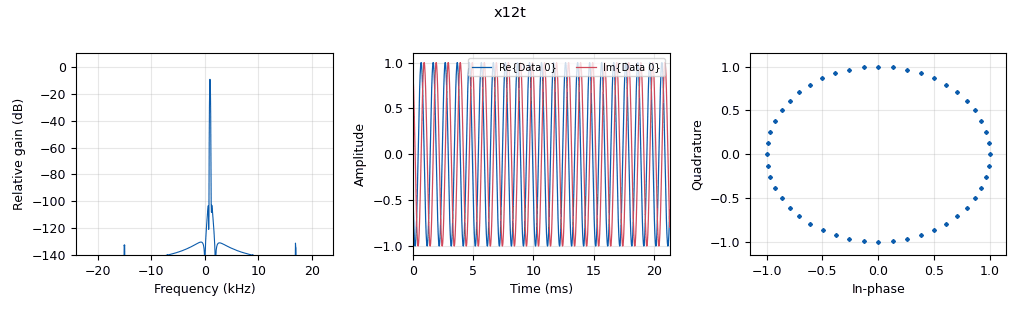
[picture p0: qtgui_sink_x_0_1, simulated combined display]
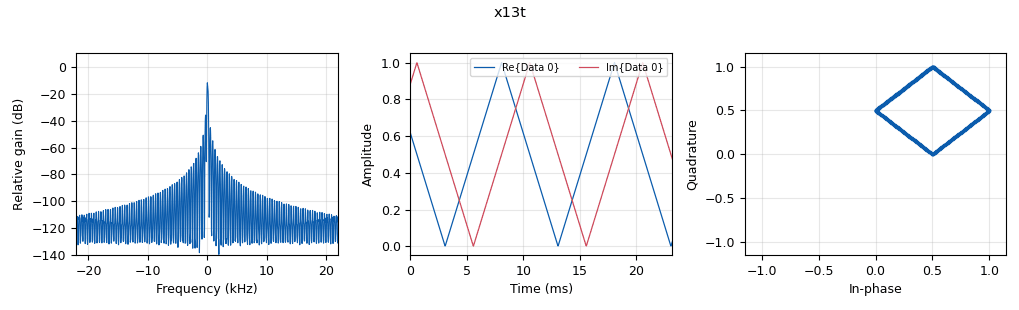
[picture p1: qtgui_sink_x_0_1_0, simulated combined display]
<?xml version='1.0' encoding='utf-8'?>
<?grc format='1' created='3.7.14'?>
<flow_graph>
<block>
<key>options</key>
<param><key>id</key><value>read_writeTests_complex_gr37_001</value></param>
<param><key>author</key><value>P. Mathys</value></param>
<param><key>generate_options</key><value>qt_gui</value></param>
<param><key>title</key><value>Read/Write Tests for complex-valued signals</value></param>
</block>
<block>
<key>variable</key>
<param><key>id</key><value>Fs12</value></param>
<param><key>value</key><value>48000</value></param>
</block>
<block>
<key>variable</key>
<param><key>id</key><value>Fs13</value></param>
<param><key>value</key><value>44100</value></param>
</block>
<block>
<key>variable</key>
<param><key>id</key><value>Fs2</value></param>
<param><key>value</key><value>32000</value></param>
</block>
<block>
<key>variable</key>
<param><key>id</key><value>Fs3</value></param>
<param><key>value</key><value>22050</value></param>
</block>
<block>
<key>analog_sig_source_x</key>
<param><key>id</key><value>analog_sig_source_x_0</value></param>
<param><key>amp</key><value>1</value></param>
<param><key>freq</key><value>1000</value></param>
<param><key>offset</key><value>0</value></param>
<param><key>type</key><value>complex</value></param>
<param><key>samp_rate</key><value>Fs12</value></param>
<param><key>waveform</key><value>analog.GR_COS_WAVE</value></param>
</block>
<block>
<key>analog_sig_source_x</key>
<param><key>id</key><value>analog_sig_source_x_0_0</value></param>
<param><key>amp</key><value>1</value></param>
<param><key>freq</key><value>100</value></param>
<param><key>offset</key><value>0</value></param>
<param><key>type</key><value>complex</value></param>
<param><key>samp_rate</key><value>Fs13</value></param>
<param><key>waveform</key><value>analog.GR_TRI_WAVE</value></param>
</block>
<block>
<key>blocks_complex_to_float</key>
<param><key>id</key><value>blocks_complex_to_float_0</value></param>
<param><key>_enabled</key><value>0</value></param>
</block>
<block>
<key>blocks_file_sink</key>
<param><key>id</key><value>blocks_file_sink_0</value></param>
<param><key>_enabled</key><value>0</value></param>
<param><key>file</key><value>sig_x12t_complex64_Fs48000.bin</value></param>
<param><key>type</key><value>complex</value></param>
</block>
<block>
<key>blocks_file_source</key>
<param><key>id</key><value>blocks_file_source_0</value></param>
<param><key>file</key><value>sig_x2t_complex64_Fs32000.bin</value></param>
<param><key>type</key><value>complex</value></param>
<param><key>repeat</key><value>True</value></param>
</block>
<block>
<key>blocks_float_to_complex</key>
<param><key>id</key><value>blocks_float_to_complex_0</value></param>
</block>
<block>
<key>blocks_throttle</key>
<param><key>id</key><value>blocks_throttle_0</value></param>
<param><key>samples_per_second</key><value>Fs2</value></param>
<param><key>type</key><value>complex</value></param>
</block>
<block>
<key>blocks_throttle</key>
<param><key>id</key><value>blocks_throttle_0_0</value></param>
<param><key>samples_per_second</key><value>Fs3</value></param>
<param><key>type</key><value>complex</value></param>
</block>
<block>
<key>blocks_throttle</key>
<param><key>id</key><value>blocks_throttle_0_1</value></param>
<param><key>samples_per_second</key><value>Fs12</value></param>
<param><key>type</key><value>complex</value></param>
</block>
<block>
<key>blocks_throttle</key>
<param><key>id</key><value>blocks_throttle_0_1_0</value></param>
<param><key>samples_per_second</key><value>Fs13</value></param>
<param><key>type</key><value>complex</value></param>
</block>
<block>
<key>blocks_wavfile_sink</key>
<param><key>id</key><value>blocks_wavfile_sink_0</value></param>
<param><key>bits_per_sample</key><value>16</value></param>
<param><key>_enabled</key><value>0</value></param>
<param><key>file</key><value>sig_x13t_PAMint16_2ch_Fs44100.wav</value></param>
<param><key>nchan</key><value>2</value></param>
<param><key>samp_rate</key><value>Fs13</value></param>
</block>
<block>
<key>blocks_wavfile_source</key>
<param><key>id</key><value>blocks_wavfile_source_0</value></param>
<param><key>file</key><value>sig_x3t_PAMint16_2ch_Fs22050.wav</value></param>
<param><key>nchan</key><value>2</value></param>
<param><key>repeat</key><value>True</value></param>
</block>
<block>
<key>qtgui_sink_x</key>
<param><key>id</key><value>qtgui_sink_x_0</value></param>
<param><key>bw</key><value>Fs2</value></param>
<param><key>fc</key><value>0</value></param>
<param><key>freqchangevar</key><value>None</value></param>
<param><key>fftsize</key><value>1024</value></param>
<param><key>gui_hint</key><value>0,0,1,1</value></param>
<param><key>name</key><value>"y2t"</value></param>
<param><key>showports</key><value>True</value></param>
<param><key>type</key><value>complex</value></param>
<param><key>wintype</key><value>firdes.WIN_BLACKMAN_hARRIS</value></param>
</block>
<block>
<key>qtgui_sink_x</key>
<param><key>id</key><value>qtgui_sink_x_0_0</value></param>
<param><key>bw</key><value>Fs3</value></param>
<param><key>fc</key><value>0</value></param>
<param><key>freqchangevar</key><value>None</value></param>
<param><key>fftsize</key><value>4096</value></param>
<param><key>gui_hint</key><value>0,1,1,1</value></param>
<param><key>name</key><value>"y3t"</value></param>
<param><key>showports</key><value>True</value></param>
<param><key>type</key><value>complex</value></param>
<param><key>wintype</key><value>firdes.WIN_BLACKMAN_hARRIS</value></param>
</block>
<block>
<key>qtgui_sink_x</key>
<param><key>id</key><value>qtgui_sink_x_0_1</value></param>
<param><key>bw</key><value>Fs12</value></param>
<param><key>fc</key><value>0</value></param>
<param><key>freqchangevar</key><value>None</value></param>
<param><key>fftsize</key><value>1024</value></param>
<param><key>gui_hint</key><value>1,0,1,1</value></param>
<param><key>name</key><value>"x12t"</value></param>
<param><key>showports</key><value>True</value></param>
<param><key>type</key><value>complex</value></param>
<param><key>wintype</key><value>firdes.WIN_BLACKMAN_hARRIS</value></param>
</block>
<block>
<key>qtgui_sink_x</key>
<param><key>id</key><value>qtgui_sink_x_0_1_0</value></param>
<param><key>bw</key><value>Fs13</value></param>
<param><key>fc</key><value>0</value></param>
<param><key>freqchangevar</key><value>None</value></param>
<param><key>fftsize</key><value>1024</value></param>
<param><key>gui_hint</key><value>1,1,1,1</value></param>
<param><key>name</key><value>"x13t"</value></param>
<param><key>showports</key><value>True</value></param>
<param><key>type</key><value>complex</value></param>
<param><key>wintype</key><value>firdes.WIN_BLACKMAN_hARRIS</value></param>
</block>
<connection><source_block_id>analog_sig_source_x_0</source_block_id><sink_block_id>blocks_throttle_0_1</sink_block_id><source_key>0</source_key><sink_key>0</sink_key></connection>
<connection><source_block_id>analog_sig_source_x_0_0</source_block_id><sink_block_id>blocks_throttle_0_1_0</sink_block_id><source_key>0</source_key><sink_key>0</sink_key></connection>
<connection><source_block_id>blocks_complex_to_float_0</source_block_id><sink_block_id>blocks_wavfile_sink_0</sink_block_id><source_key>1</source_key><sink_key>1</sink_key></connection>
<connection><source_block_id>blocks_complex_to_float_0</source_block_id><sink_block_id>blocks_wavfile_sink_0</sink_block_id><source_key>0</source_key><sink_key>0</sink_key></connection>
<connection><source_block_id>blocks_file_source_0</source_block_id><sink_block_id>blocks_throttle_0</sink_block_id><source_key>0</source_key><sink_key>0</sink_key></connection>
<connection><source_block_id>blocks_float_to_complex_0</source_block_id><sink_block_id>blocks_throttle_0_0</sink_block_id><source_key>0</source_key><sink_key>0</sink_key></connection>
<connection><source_block_id>blocks_throttle_0</source_block_id><sink_block_id>qtgui_sink_x_0</sink_block_id><source_key>0</source_key><sink_key>0</sink_key></connection>
<connection><source_block_id>blocks_throttle_0_0</source_block_id><sink_block_id>qtgui_sink_x_0_0</sink_block_id><source_key>0</source_key><sink_key>0</sink_key></connection>
<connection><source_block_id>blocks_throttle_0_1</source_block_id><sink_block_id>blocks_file_sink_0</sink_block_id><source_key>0</source_key><sink_key>0</sink_key></connection>
<connection><source_block_id>blocks_throttle_0_1</source_block_id><sink_block_id>qtgui_sink_x_0_1</sink_block_id><source_key>0</source_key><sink_key>0</sink_key></connection>
<connection><source_block_id>blocks_throttle_0_1_0</source_block_id><sink_block_id>blocks_complex_to_float_0</sink_block_id><source_key>0</source_key><sink_key>0</sink_key></connection>
<connection><source_block_id>blocks_throttle_0_1_0</source_block_id><sink_block_id>qtgui_sink_x_0_1_0</sink_block_id><source_key>0</source_key><sink_key>0</sink_key></connection>
<connection><source_block_id>blocks_wavfile_source_0</source_block_id><sink_block_id>blocks_float_to_complex_0</sink_block_id><source_key>0</source_key><sink_key>0</sink_key></connection>
<connection><source_block_id>blocks_wavfile_source_0</source_block_id><sink_block_id>blocks_float_to_complex_0</sink_block_id><source_key>1</source_key><sink_key>1</sink_key></connection>
</flow_graph>
